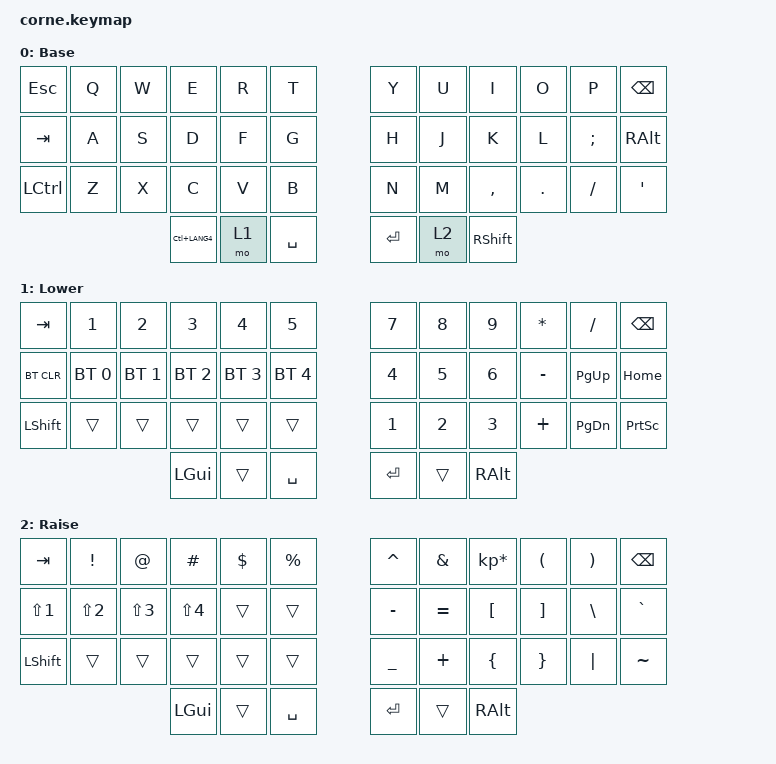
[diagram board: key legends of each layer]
/*
 * Copyright (c) 2020 The ZMK Contributors
 *
 * SPDX-License-Identifier: MIT
 */

#include <behaviors.dtsi>
#include <dt-bindings/zmk/bt.h>
#include <dt-bindings/zmk/keys.h>

/ {
    keymap {
        compatible = "zmk,keymap";

        default_layer {
            // -----------------------------------------------------------------------------------------
            // |  TAB |  Q  |  W  |  E  |  R  |  T  |   |  Y  |  U   |  I  |  O  |  P  | BKSP |
            // | CTRL |  A  |  S  |  D  |  F  |  G  |   |  H  |  J   |  K  |  L  |  ;  |  '   |
            // | SHFT |  Z  |  X  |  C  |  V  |  B  |   |  N  |  M   |  ,  |  .  |  /  | ESC  |
            //                    | GUI | LWR | SPC |   | ENT | RSE  | ALT |

            display-name = "Base";
            bindings = <
&kp ESCAPE        &kp Q  &kp W  &kp E          &kp R  &kp T        &kp Y    &kp U  &kp I            &kp O    &kp P     &kp BSPC
&kp TAB           &kp A  &kp S  &kp D          &kp F  &kp G        &kp H    &kp J  &kp K            &kp L    &kp SEMI  &kp RIGHT_ALT
&kp LEFT_CONTROL  &kp Z  &kp X  &kp C          &kp V  &kp B        &kp N    &kp M  &kp COMMA        &kp DOT  &kp FSLH  &kp SQT
                                &kp LC(LANG4)  &mo 1  &kp SPACE    &kp RET  &mo 2  &kp RIGHT_SHIFT
            >;
        };

        lower_layer {
            // -----------------------------------------------------------------------------------------
            // |  TAB |  1  |  2  |  3  |  4  |  5  |   |  6  |  7  |  8  |  9  |  0  | BKSP |
            // | BTCLR| BT1 | BT2 | BT3 | BT4 | BT5 |   | LFT | DWN |  UP | RGT |     |      |
            // | SHFT |     |     |     |     |     |   |     |     |     |     |     |      |
            //                    | GUI |     | SPC |   | ENT |     | ALT |

            display-name = "Lower";
            bindings = <
&kp TAB     &kp N1        &kp N2        &kp N3        &kp N4        &kp N5          &kp N7        &kp N8        &kp N9        &kp ASTERISK  &kp SLASH      &kp BSPC
&bt BT_CLR  &bt BT_SEL 0  &bt BT_SEL 1  &bt BT_SEL 2  &bt BT_SEL 3  &bt BT_SEL 4    &kp NUMBER_4  &kp N5        &kp NUMBER_6  &kp MINUS     &kp PAGE_UP    &kp HOME
&kp LSHFT   &trans        &trans        &trans        &trans        &trans          &kp NUMBER_1  &kp NUMBER_2  &kp NUMBER_3  &kp PLUS      &kp PAGE_DOWN  &kp PRINTSCREEN
                                        &kp LGUI      &trans        &kp SPACE       &kp RET       &trans        &kp RALT
            >;
        };

        raise_layer {
            // -----------------------------------------------------------------------------------------
            // |  TAB |  !  |  @  |  #  |  $  |  %  |   |  ^  |  &  |  *  |  (  |  )  | BKSP |
            // | CTRL |     |     |     |     |     |   |  -  |  =  |  [  |  ]  |  \  |  `   |
            // | SHFT |     |     |     |     |     |   |  _  |  +  |  {  |  }  | "|" |  ~   |
            //                    | GUI |     | SPC |   | ENT |     | ALT |

            display-name = "Raise";
            bindings = <
&kp TAB     &kp EXCL    &kp AT      &kp HASH          &kp DLLR  &kp PRCNT    &kp CARET  &kp AMPS   &kp KP_MULTIPLY  &kp LPAR  &kp RPAR  &kp BSPC
&kp LS(N1)  &kp LS(N2)  &kp LS(N3)  &kp LS(NUMBER_4)  &trans    &trans       &kp MINUS  &kp EQUAL  &kp LBKT         &kp RBKT  &kp BSLH  &kp GRAVE
&kp LSHFT   &trans      &trans      &trans            &trans    &trans       &kp UNDER  &kp PLUS   &kp LBRC         &kp RBRC  &kp PIPE  &kp TILDE
                                    &kp LGUI          &trans    &kp SPACE    &kp RET    &trans     &kp RALT
            >;
        };
    };
};
